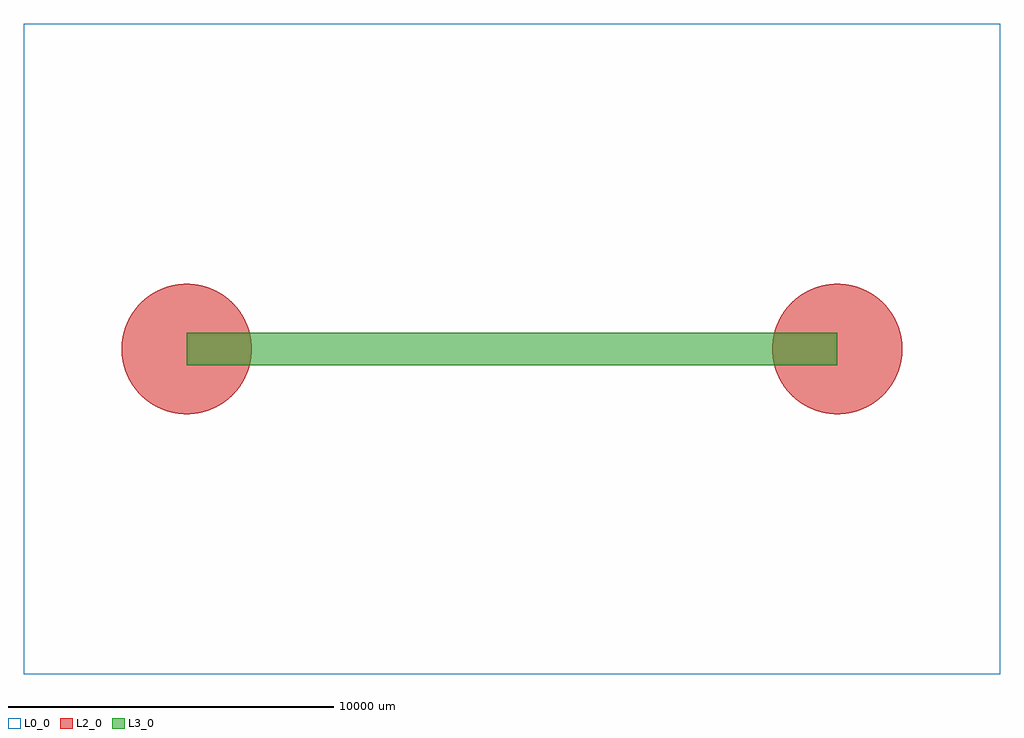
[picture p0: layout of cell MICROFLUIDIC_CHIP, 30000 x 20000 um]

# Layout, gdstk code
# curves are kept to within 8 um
import gdstk
lib = gdstk.Library(unit=1e-6, precision=1e-09)
def R(c, l, rs):  # rectangles x0, y0, x1, y1
    for r in rs: c.add(gdstk.rectangle(r[:2], r[2:], *l))
def P(c, l, *ps):  # polygons
    for p in ps: c.add(gdstk.Polygon(p, *l))
L0_0 = (0, 0)
L2_0 = (2, 0)
L3_0 = (3, 0)

microfluidic_chip = lib.new_cell('MICROFLUIDIC_CHIP')
R(microfluidic_chip, L0_0, [(0,0,30000,20000)])
P(microfluidic_chip, L2_0, [(5000,10000),(7000,10000),(6981.9,10268.467),(6927.926,10532.074),(6839.056,10786.05),(6716.898,11025.799),(6618.034,11175.571),(6506.143,11315.877),(6382.125,11445.59),(6246.98,11563.663),(6101.794,11669.147),(5947.737,11761.191),(5786.05,11839.056),(5618.034,11902.113)],
  [(5000,10000),(5618.034,11902.113),(5407.458,11958.055),(5204.806,11989.486),(4987.177,11999.959),(4782.443,11988.132),(4567.469,11952.669),(4357.627,11894.032),(4155.409,11812.917),(3974.201,11716.898),(3803.779,11602.827),(3645.933,11471.905),(3510.854,11335.082),(3381.966,11175.571)],
  [(5000,10000),(3381.966,11175.571),(3283.102,11025.799),(3155.943,10774.243),(3062.197,10494.895),(3010.514,10204.806),(3002.014,9910.27),(3034.471,9630.277),(3110.125,9345.497),(3226.801,9074.923),(3381.966,8824.429)],
  [(5000,10000),(3381.966,8824.429),(3510.854,8664.918),(3645.933,8528.095),(3803.779,8397.173),(3974.201,8283.102),(4155.409,8187.083),(4357.627,8105.968),(4567.469,8047.331),(4782.443,8011.868),(4987.177,8000.041),(5204.806,8010.514),(5407.458,8041.945),(5618.034,8097.887)],
  [(5000,10000),(5618.034,8097.887),(5832.95,8181.706),(6025.799,8283.102),(6236.929,8428.374),(6427.749,8599.452),(6595.125,8793.527),(6736.309,9007.412),(6853.834,9249.466),(6934.59,9492.691),(6983.58,9744.246),(7000,10000)],
  [(25000,10000),(27000,10000),(26981.9,10268.467),(26927.926,10532.074),(26839.056,10786.05),(26716.898,11025.799),(26618.034,11175.571),(26506.143,11315.877),(26382.125,11445.59),(26246.98,11563.663),(26101.794,11669.147),(25947.737,11761.191),(25786.05,11839.056),(25618.034,11902.113)],
  [(25000,10000),(25618.034,11902.113),(25407.458,11958.055),(25204.806,11989.486),(24987.177,11999.959),(24782.443,11988.132),(24567.469,11952.669),(24357.627,11894.032),(24155.409,11812.917),(23974.201,11716.898),(23803.779,11602.827),(23645.933,11471.905),(23510.854,11335.082),(23381.966,11175.571)],
  [(25000,10000),(23381.966,11175.571),(23283.102,11025.799),(23155.943,10774.243),(23062.197,10494.895),(23010.514,10204.806),(23002.014,9910.27),(23034.471,9630.277),(23110.125,9345.497),(23226.801,9074.923),(23381.966,8824.429)],
  [(25000,10000),(23381.966,8824.429),(23510.854,8664.918),(23645.933,8528.095),(23803.779,8397.173),(23974.201,8283.102),(24155.409,8187.083),(24357.627,8105.968),(24567.469,8047.331),(24782.443,8011.868),(24987.177,8000.041),(25204.806,8010.514),(25407.458,8041.945),(25618.034,8097.887)],
  [(25000,10000),(25618.034,8097.887),(25832.95,8181.706),(26025.799,8283.102),(26236.929,8428.374),(26427.749,8599.452),(26595.125,8793.527),(26736.309,9007.412),(26853.834,9249.466),(26934.59,9492.691),(26983.58,9744.246),(27000,10000)])
R(microfluidic_chip, L3_0, [(5000,9500,25000,10500)])

lib.write_gds('MICROFLUIDIC_CHIP.gds')
